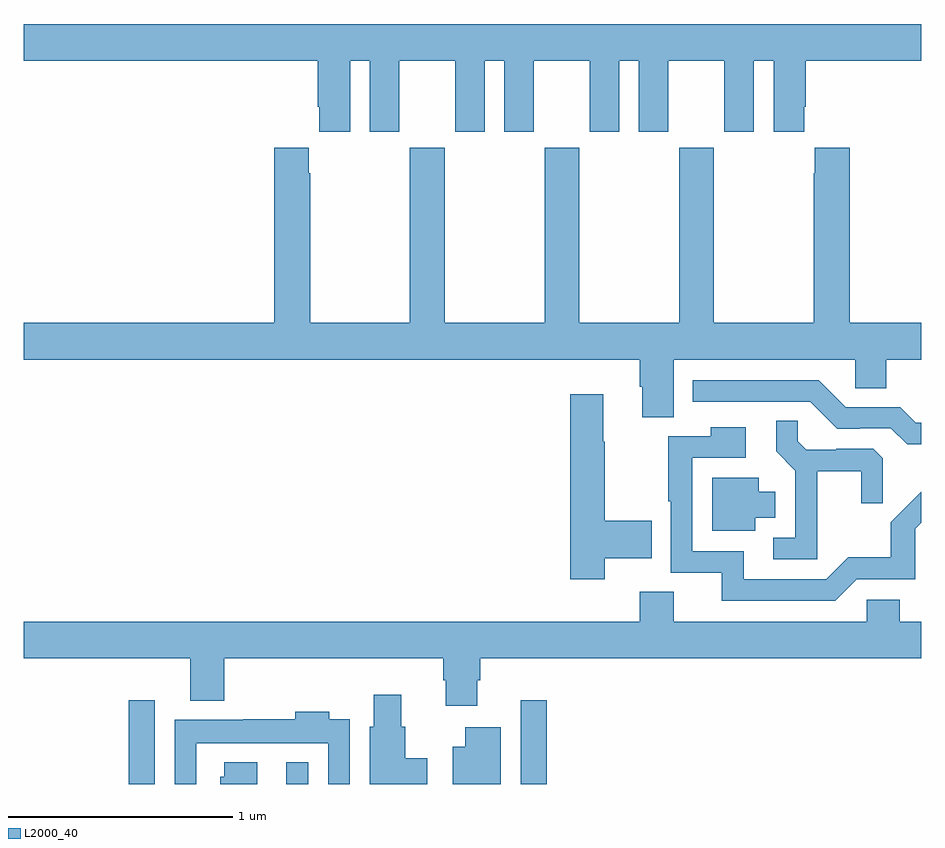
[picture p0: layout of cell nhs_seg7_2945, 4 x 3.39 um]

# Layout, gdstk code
import gdstk
lib = gdstk.Library(unit=1e-6, precision=1e-09)
def R(c, l, rs):  # rectangles x0, y0, x1, y1
    for r in rs: c.add(gdstk.rectangle(r[:2], r[2:], *l))
def P(c, l, *ps):  # polygons
    for p in ps: c.add(gdstk.Polygon(p, *l))
L2000_40 = (2000, 40)

nhs_seg7_2945 = lib.new_cell('nhs_seg7_2945')
R(nhs_seg7_2945, L2000_40, [(299.467,1056,299.583,1056.373), (300.17,1056,300.267,1056.097), (301.215,1056,301.331,1056.373)])
P(nhs_seg7_2945, L2000_40, [(299,1059.224),(300.311,1059.224),(300.311,1059.019),(300.317,1059.019),(300.317,1058.907),(300.454,1058.907),(300.454,1059.224),(300.542,1059.224),(300.542,1058.907),(300.673,1058.907),(300.673,1059.224),(300.923,1059.224),(300.923,1058.907),(301.054,1058.907),(301.054,1059.224),(301.142,1059.224),(301.142,1058.907),(301.273,1058.907),(301.273,1059.224),(301.523,1059.224),(301.523,1058.907),(301.654,1058.907),(301.654,1059.224),(301.742,1059.224),(301.742,1058.907),(301.873,1058.907),(301.873,1059.224),(302.123,1059.224),(302.123,1058.907),(302.254,1058.907),(302.254,1059.224),(302.342,1059.224),(302.342,1058.907),(302.479,1058.907),(302.479,1059.019),(302.486,1059.019),(302.486,1059.224),(303,1059.224),(303,1059.388),(299,1059.388)],
  [(301.897,1057.892),(302.706,1057.892),(302.706,1057.765),(302.845,1057.765),(302.845,1057.892),(303,1057.892),(303,1058.056),(302.681,1058.056),(302.681,1058.836),(302.525,1058.836),(302.525,1058.723),(302.521,1058.723),(302.521,1058.056),(302.076,1058.056),(302.076,1058.836),(301.921,1058.836),(301.921,1058.056),(301.476,1058.056),(301.476,1058.836),(301.321,1058.836),(301.321,1058.056),(300.876,1058.056),(300.876,1058.836),(300.721,1058.836),(300.721,1058.056),(300.276,1058.056),(300.276,1058.723),(300.271,1058.723),(300.271,1058.836),(300.116,1058.836),(300.116,1058.056),(299,1058.056),(299,1057.892),(301.745,1057.892),(301.745,1057.77),(301.757,1057.77),(301.757,1057.636),(301.897,1057.636)],
  [(303,1057.611),(302.976,1057.611),(302.907,1057.68),(302.664,1057.68),(302.544,1057.8),(301.982,1057.8),(301.982,1057.704),(302.505,1057.704),(302.625,1057.584),(302.726,1057.584),(302.726,1057.587),(302.865,1057.587),(302.938,1057.514),(303,1057.514)],
  [(301.59,1057.007),(301.799,1057.007),(301.799,1057.173),(301.59,1057.173),(301.59,1057.525),(301.582,1057.525),(301.582,1057.738),(301.436,1057.738),(301.436,1056.912),(301.59,1056.912)],
  [(302.537,1057.394),(302.734,1057.394),(302.734,1057.251),(302.828,1057.251),(302.828,1057.453),(302.787,1057.494),(302.622,1057.494),(302.622,1057.491),(302.488,1057.491),(302.451,1057.528),(302.451,1057.619),(302.353,1057.619),(302.353,1057.483),(302.439,1057.397),(302.439,1057.098),(302.34,1057.098),(302.34,1057.002),(302.537,1057.002)],
  [(302.712,1056.912),(302.973,1056.912),(302.973,1057.137),(303,1057.164),(303,1057.302),(302.865,1057.166),(302.865,1057.011),(302.676,1057.011),(302.577,1056.912),(302.209,1056.912),(302.209,1057.038),(301.98,1057.038),(301.98,1057.455),(302.218,1057.455),(302.218,1057.591),(302.062,1057.591),(302.062,1057.551),(301.872,1057.551),(301.872,1057.261),(301.884,1057.261),(301.884,1056.942),(302.111,1056.942),(302.111,1056.816),(302.616,1056.816)],
  [(302.26,1057.187),(302.35,1057.187),(302.35,1057.303),(302.275,1057.303),(302.275,1057.366),(302.069,1057.366),(302.069,1057.13),(302.26,1057.13)],
  [(301.021,1056.462),(301.034,1056.462),(301.034,1056.56),(303,1056.56),(303,1056.724),(302.904,1056.724),(302.904,1056.822),(302.757,1056.822),(302.757,1056.724),(301.897,1056.724),(301.897,1056.857),(301.745,1056.857),(301.745,1056.724),(299,1056.724),(299,1056.56),(299.741,1056.56),(299.741,1056.371),(299.894,1056.371),(299.894,1056.56),(300.869,1056.56),(300.869,1056.462),(300.881,1056.462),(300.881,1056.348),(301.021,1056.348)],
  [(300.799,1056.114),(300.7,1056.114),(300.7,1056.255),(300.682,1056.255),(300.682,1056.397),(300.56,1056.397),(300.56,1056.255),(300.542,1056.255),(300.542,1056),(300.799,1056)],
  [(299.769,1056.182),(300.357,1056.182),(300.357,1056),(300.453,1056),(300.453,1056.289),(300.361,1056.289),(300.361,1056.322),(300.209,1056.322),(300.209,1056.289),(299.977,1056.289),(299.977,1056.286),(299.673,1056.286),(299.673,1056),(299.769,1056)],
  [(301.126,1056.253),(300.968,1056.253),(300.968,1056.166),(300.911,1056.166),(300.911,1056),(301.126,1056)],
  [(300.04,1056.097),(299.894,1056.097),(299.894,1056.033),(299.876,1056.033),(299.876,1056),(300.04,1056)])

lib.write_gds('nhs_seg7_2945.gds')
